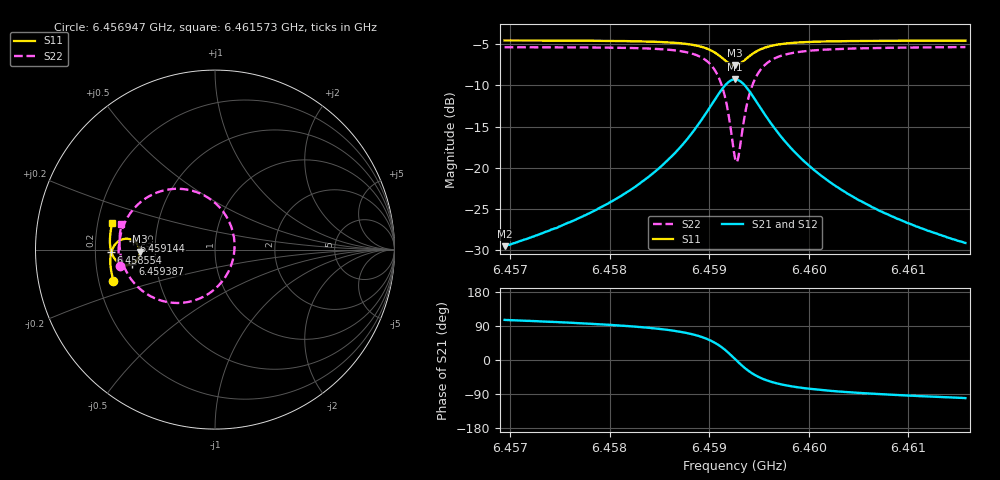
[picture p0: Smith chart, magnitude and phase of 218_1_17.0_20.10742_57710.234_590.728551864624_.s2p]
#  HZ  S  RI  R  50.00
! Rohde & Schwarz Vector Network Analyzer
! Rohde-Schwarz,ZNB20-2Port,1311601062101988,3.16
! Created: UTC 3/20/2024, 11:01:50 PM
! freq[Hz]  re:S11  im:S11  re:S21  im:S21  re:S12  im:S12  re:S22  im:S22
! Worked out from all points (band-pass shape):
!   401 points, 6.456947 GHz to 6.461573 GHz, reference 50 ohm
!   highest |S21| = -9.27 dB at 6.45926 GHz (marker M1); lowest = -29.5 dB at 6.456947 GHz (marker M2)
!   |S21| within 3 dB of the highest: 6.459028 GHz to 6.459491 GHz (463.2 kHz wide, 0.00717 % of centre)
!   lowest |S11| = -7.6 dB at 6.45926 GHz (marker M3), VSWR 2.44, Z = 20.5 - j0.617 ohm
!   |S11| at or under -10 dB: nowhere
!   |S22| runs from -19.3 to -5.4 dB; largest |S21 - S12| = 0.013
!   S11 on the Smith chart (normalised r, x): 6.456947 GHz: 0.26, -0.14; 6.458554 GHz: 0.27, -0.01; 6.459144 GHz: 0.37, +0.05; 6.459387 GHz: 0.37, -0.07; 6.461573 GHz: 0.26, +0.12
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6.4569469e9  -0.5655 -0.1756  -0.00912 0.0322  -0.00742 0.0322  -0.5309 -0.0908
6.4577217e9  -0.5801 -0.108  -0.00601 0.0502  -0.00345 0.0496  -0.5373 -0.000397
6.4581843e9  -0.5832 -0.0615  0.000718 0.0717  0.00397 0.0704  -0.5284 0.0737
6.4584965e9  -0.5797 -0.0238  0.0135 0.0984  0.0175 0.0958  -0.5052 0.1451
6.4585544e9  -0.5779 -0.016  0.0178 0.1053  0.0218 0.1023  -0.4971 0.1616
6.4587625e9  -0.5651 0.0161  0.0451 0.1378  0.0492 0.1329  -0.4461 0.2345
6.4589129e9  -0.5426 0.0426  0.0901 0.1685  0.0933 0.1619  -0.3633 0.2993
6.4590517e9  -0.4989 0.0604  0.1768 0.1852  0.1779 0.1779  -0.2048 0.3389
6.4591442e9  -0.4545 0.0503  0.2665 0.1544  0.2668 0.1485  -0.039 0.2894
6.4591904e9  -0.4334 0.0316  0.3102 0.1119  0.3114 0.1067  0.0438 0.2138
6.4592598e9  -0.4186 -0.0124  0.3434 0.0156  0.347 0.00874  0.1088 0.0353
6.4592714e9  -0.419 -0.0204  0.3433 -0.00195  0.3471 -0.00959  0.1085 0.0019
6.4592945e9  -0.4225 -0.0359  0.3379 -0.0366  0.3416 -0.0455  0.0979 -0.0634
6.4593408e9  -0.438 -0.0618  0.3098 -0.0962  0.3118 -0.1079  0.0409 -0.176
6.459387e9  -0.4599 -0.0779  0.2681 -0.1371  0.2673 -0.1501  -0.0428 -0.2507
6.4594795e9  -0.503 -0.0849  0.1841 -0.1683  0.1781 -0.1798  -0.2101 -0.2974
6.4596299e9  -0.5465 -0.0645  0.0967 -0.1552  0.0883 -0.1614  -0.3769 -0.2493
6.4597918e9  -0.5681 -0.0369  0.0519 -0.1277  0.0444 -0.1305  -0.4573 -0.1782
6.4600346e9  -0.581 -0.00151  0.0227 -0.0966  0.0169 -0.0972  -0.5058 -0.0963
6.4603816e9  -0.5857 0.0396  0.00659 -0.0699  0.00254 -0.0696  -0.5277 -0.0175
6.4608095e9  -0.5838 0.0825  -0.0012 -0.0516  -0.00394 -0.0507  -0.5323 0.0507
6.4615728e9  -0.5718 0.1501  -0.00644 -0.0344  -0.00805 -0.0335  -0.5213 0.1407
